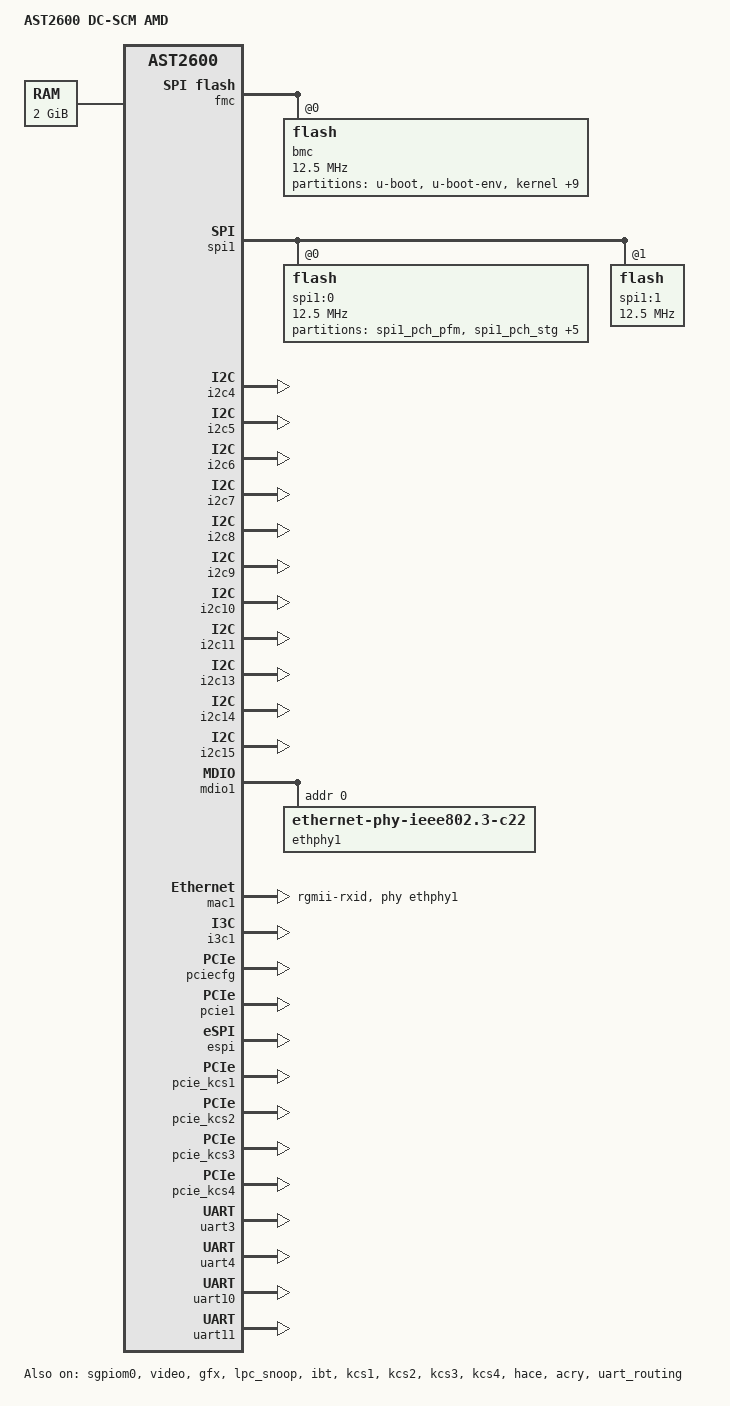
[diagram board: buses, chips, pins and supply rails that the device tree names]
// SPDX-License-Identifier: GPL-2.0-or-later
// Copyright 2023 ASPEED Tech. Corp.

/dts-v1/;

#include "aspeed-g6.dtsi"
#include <dt-bindings/gpio/aspeed-gpio.h>

/ {
	model = "AST2600 DC-SCM AMD";
	compatible = "aspeed,ast2600";

	aliases {
		serial4 = &uart5;
	};

	chosen {
		bootargs = "console=ttyS4,115200n8";
	};

	memory@80000000 {
		device_type = "memory";
		reg = <0x80000000 0x80000000>;
	};

	reserved-memory {
		#address-cells = <1>;
		#size-cells = <1>;
		ranges;

		video_engine_memory: video {
			size = <0x04000000>;
			alignment = <0x01000000>;
			compatible = "shared-dma-pool";
			reusable;
		};

		gfx_memory: framebuffer {
			size = <0x01000000>;
			alignment = <0x01000000>;
			compatible = "shared-dma-pool";
			reusable;
		};

		bmc_dev_memory: bmc_dev_memory {
			size = <0x00100000>;
			alignment = <0x00100000>;
			compatible = "shared-dma-pool";
			no-map;
		};

		ssp_memory: ssp_memory {
			size = <0x02000000>;
			alignment = <0x01000000>;
			shm-size = <0x1000>;
			compatible = "shared-dma-pool";
			no-map;
		};

		mctp0_reserved: mctp0_reserved@b1000000 {
			reg = <0xb1000000 0x10000>;
			compatible = "shared-dma-pool";
			no-map;
		};

		mctp1_reserved: mctp1_reserved@b1010000 {
			reg = <0xb1010000 0x10000>;
			compatible = "shared-dma-pool";
			no-map;
		};
	};
};

&fmc {
	status = "okay";

	flash@0 {
		status = "okay";
		m25p,fast-read;
		label = "bmc";
		spi-max-frequency = <12500000>;
		spi-tx-bus-width = <4>;
		spi-rx-bus-width = <4>;
		partitions {
			compatible = "fixed-partitions";
			#address-cells = <1>;
			#size-cells = <1>;

			u-boot@0 {
				reg = <0x0 0x140000>; // 1280KB
				label = "u-boot";
			};

			u-boot-env@140000 {
				reg = <0x140000 0x20000>; // 128KB
				label = "u-boot-env";
			};

			kernel@160000 {
				reg = <0x160000 0x800000>; // 8MB
				label = "kernel";
			};

			rofs@960000 {
				reg = <0x960000 0x24a0000>; // 36.625MB
				label = "rofs";
			};

			rwfs@2e00000 {
				reg = <0x2e00000 0xfe0000>; // 16256KB
				label = "rwfs";
			};

			pfm@3de0000 {
				reg = <0x3de0000 0x20000>; // 128KB
				label = "pfm";
			};
			reserved-1@3e00000 {
				reg = <0x3e00000 0x200000>; // 2048KB
				label = "reserved-1";
			};

			rc-image@4000000 {
				reg = <0x4000000 0x4000000>; // 65536KB
				label = "rc-image";
			};

			image-stg@8000000 {
				reg = <0x8000000 0x4000000>; // 65536KB
				label = "img-stg";
			};

			pfr-stg@c000000 {
				reg = <0xc000000 0x100000>; // 1024KB
				label = "pfr-stg";
			};

			cpld-stg@c100000 {
				reg = <0xc100000 0x400000>; // 4096KB
				label = "cpld-stg";
			};

			reserved-2@c500000 {
				reg = <0xc500000 0x3b00000>; // 60416KB
				label = "reserved-2";
			};
		};
	};

	flash@1 {
		status = "disabled";
		m25p,fast-read;
		label = "fmc0:1";
		spi-max-frequency = <12500000>;
		spi-tx-bus-width = <1>;
		spi-rx-bus-width = <1>;
	};

	flash@2 {
		status = "disabled";
		m25p,fast-read;
		label = "fmc0:2";
		spi-max-frequency = <12500000>;
		spi-tx-bus-width = <1>;
		spi-rx-bus-width = <1>;
	};
};

&spi1 {
	pinctrl-0 = <&pinctrl_spi1_default &pinctrl_spi1cs1_default
				&pinctrl_qspi1_default>;
	status = "okay";

	flash@0 {
		status = "okay";
		m25p,fast-read;
		label = "spi1:0";
		spi-max-frequency = <12500000>;
		spi-tx-bus-width = <1>;
		spi-rx-bus-width = <1>;
		partitions {
			compatible = "fixed-partitions";
			#address-cells = <1>;
			#size-cells = <1>;

			spi1_pch_pfm@0 {
				reg = <0x0 0x10000>;
				label = "spi1_pch_pfm";
			};

			spi1_pch_stg@10000 {
				reg = <0x10000 0xf00000>;
				label = "spi1_pch_stg";
			};

			spi1_pch_reserved1@f10000 {
				reg = <0xf10000 0x650000>;
				label = "spi1_pch_reserved1";
			};

			// pch_gpnv 0x1560000 0x14000
			// pch_reserved2 0x1574000 0xc000
			spi1_pch_gpnv_reserved2@1560000 {
				reg = <0x1560000 0x20000>;
				label = "spi1_pch_gpnv_reserved2";
			};

			// pch_fv_whea 0x1580000 0x4000
			// pch_fv_main 0x1584000 0x77c000
			spi1_pch_fv_whea_main@1580000 {
				reg = <0x1580000 0x780000>;
				label = "spi1_pch_fv_whea_main";
			};

			spi1_pch_fv_bb@1d00000 {
				reg = <0x1d00000 0x300000>;
				label = "spi1_pch_fv_bb";
			};

			spi1_pch_rc@2000000 {
				reg = <0x2000000 0x2000000>;
				label = "spi1_pch_rc";
			};
		};
	};

	flash@1 {
		status = "okay";
		m25p,fast-read;
		label = "spi1:1";
		spi-max-frequency = <12500000>;
		spi-tx-bus-width = <1>;
		spi-rx-bus-width = <1>;
	};
};

&spi2 {
	pinctrl-names = "default";
	pinctrl-0 = <&pinctrl_spi2_default &pinctrl_spi2cs1_default
				&pinctrl_spi2cs2_default &pinctrl_qspi2_default>;
	status = "disabled";

	flash@0 {
		status = "disabled";
		m25p,fast-read;
		label = "spi2:0";
		spi-max-frequency = <12500000>;
		spi-tx-bus-width = <1>;
		spi-rx-bus-width = <1>;
	};

	flash@1 {
		status = "disabled";
		m25p,fast-read;
		label = "spi2:1";
		spi-max-frequency = <12500000>;
		spi-tx-bus-width = <1>;
		spi-rx-bus-width = <1>;
	};

	flash@2 {
		status = "disabled";
		m25p,fast-read;
		label = "spi2:2";
		spi-max-frequency = <12500000>;
		spi-tx-bus-width = <1>;
		spi-rx-bus-width = <1>;
	};

};

&i2c4 {
	status = "okay";
	multi-master;
};

&i2c5 {
	status = "okay";
};

&i2c6 {
	status = "okay";
};

&i2c7 {
	status = "okay";
};

&i2c8 {
	status = "okay";
};

&i2c9 {
	status = "okay";
};

&i2c10 {
	status = "okay";
};

&i2c11 {
	status = "okay";
};

&i2c13 {
	status = "okay";
	multi-master;
};

&i2c14 {
	status = "okay";
};

&i2c15 {
	status = "okay";
};

&mdio1 {
	status = "okay";

	ethphy1: ethernet-phy@0 {
		compatible = "ethernet-phy-ieee802.3-c22";
		reg = <0>;
	};
};

&mac1 {
	status = "okay";

	phy-mode = "rgmii-rxid";
	phy-handle = <&ethphy1>;

	pinctrl-names = "default";
	pinctrl-0 = <&pinctrl_rgmii2_default>;
};

&sgpiom0 {
	status = "okay";
	ngpios = <32>;
	gpio-line-names =
		"MAIN_PLD_MINOR_REV_BIT0","","MAIN_PLD_MINOR_REV_BIT1","","MAIN_PLD_MINOR_REV_BIT2","","MAIN_PLD_MINOR_REV_BIT3","",
		"MAIN_PLD_MAJOR_REV_BIT0","","MAIN_PLD_MAJOR_REV_BIT1","","MAIN_PLD_MAJOR_REV_BIT2","","MAIN_PLD_MAJOR_REV_BIT3","",
		"SGPIO_PLD_MAJOR_REV_BIT3","","SGPIO_PLD_MAJOR_REV_BIT2","","SGPIO_PLD_MAJOR_REV_BIT1","","SGPIO_PLD_MAJOR_REV_BIT0","",
		"SGPIO_PLD_MINOR_REV_BIT3","","SGPIO_PLD_MINOR_REV_BIT2","","SGPIO_PLD_MINOR_REV_BIT1","","SGPIO_PLD_MINOR_REV_BIT0","";
};

&gpio0 {
	gpio-line-names =
		/*A0 - A7*/     "", "", "", "", "", "", "", "",
		/*B0 - B7*/     "", "", "", "", "", "", "", "",
		/*C0 - C7*/     "", "", "", "", "", "", "", "",
		/*D0 - D7*/     "", "", "", "", "", "", "", "",
		/*E0 - E7*/     "", "", "", "", "", "", "", "",
		/*F0 - F7*/     "", "", "", "", "", "", "", "",
		/*G0 - G7*/     "", "", "", "", "", "", "", "",
		/*H0 - H7*/     "", "", "", "", "", "", "", "",
		/*I0 - I7*/     "", "", "", "", "", "RESET_OUT", "POST_COMPLETE", "POWER_OUT",
		/*J0 - J7*/     "", "", "", "", "", "", "", "",
		/*K0 - K7*/     "", "", "", "", "", "", "", "",
		/*L0 - L7*/     "", "", "", "", "", "", "", "",
		/*M0 - M7*/     "", "", "", "", "", "", "", "",
		/*N0 - N7*/     "", "", "", "", "", "", "", "",
		/*O0 - O7*/     "", "", "", "", "", "", "", "",
		/*P0 - P7*/     "", "", "", "", "", "", "", "",
		/*Q0 - Q7*/     "", "", "", "", "", "", "", "",
		/*R0 - R7*/     "", "", "", "", "", "", "", "",
		/*S0 - S7*/     "", "", "", "", "", "", "", "",
		/*T0 - T7*/     "", "", "", "", "", "", "", "",
		/*U0 - U7*/     "", "", "", "", "", "", "", "",
		/*V0 - V7*/     "", "", "", "", "", "RESET_BUTTON", "POWER_BUTTON", "",
		/*W0 - W7*/     "", "", "", "", "", "", "", "",
		/*X0 - X7*/     "", "", "", "", "", "", "", "",
		/*Y0 - Y7*/     "PS_PWROK", "", "", "", "", "", "", "",
		/*Z0 - Z7*/     "", "", "", "", "", "", "", "",
		/*AA0 - AA7*/   "", "", "", "", "", "", "", "",
		/*AB0 - AB7*/   "", "", "", "", "", "", "", "",
		/*AC0 - AC7*/   "", "", "", "", "", "", "", "";
};

&i3c1 {
	initial-role = "target";
	pid = <0x000007ec 0x05031000>;
	dcr = /bits/ 8 <0xcc>;
	status = "okay";
};

&video {
	status = "okay";
	memory-region = <&video_engine_memory>;
};

&gfx {
	status = "okay";
	memory-region = <&gfx_memory>;
};

&pciecfg {
	status = "okay";
};

&pcie1 {
	status = "okay";
};

&espi {
	status = "okay";
	perif-dma-mode;
	oob-dma-mode;
	flash-dma-mode;
};

&lpc_snoop {
	status = "okay";
	snoop-ports = <0x80>;
};

&ibt {
	status = "okay";
};

&kcs1 {
	kcs-io-addr = <0xca0>;
	kcs-channel = <1>;
	status = "okay";
};

&kcs2 {
	kcs-io-addr = <0xca8>;
	kcs-channel = <2>;
	status = "okay";
};

&kcs3 {
	status = "okay";
	kcs-io-addr = <0xca2>;
	kcs-channel = <3>;
};

&kcs4 {
	status = "okay";
	kcs-io-addr = <0xca4>;
	kcs-channel = <4>;
};

&mbox {
	status = "okay";
};

&pcie_kcs1 {
	kcs-io-addr = <0x3a0>;
	kcs-channel = <5>;
	status = "okay";
};

&pcie_kcs2 {
	kcs-io-addr = <0x3a8>;
	kcs-channel = <6>;
	status = "okay";
};

&pcie_kcs3 {
	kcs-io-addr = <0x3a2>;
	kcs-channel = <7>;
	status = "okay";
};

&pcie_kcs4 {
	kcs-io-addr = <0x3a4>;
	kcs-channel = <8>;
	status = "okay";
};

&hace {
	status = "okay";
};

&acry {
	status = "okay";
};

&uart3 {
	status = "okay";
};

&uart4 {
	status = "okay";
};

&uart10 {
	status = "okay";
};

&uart11 {
	status = "okay";
};

&uart_routing {
	status = "okay";
};

&ssp {
	memory-region = <&ssp_memory>;
};
